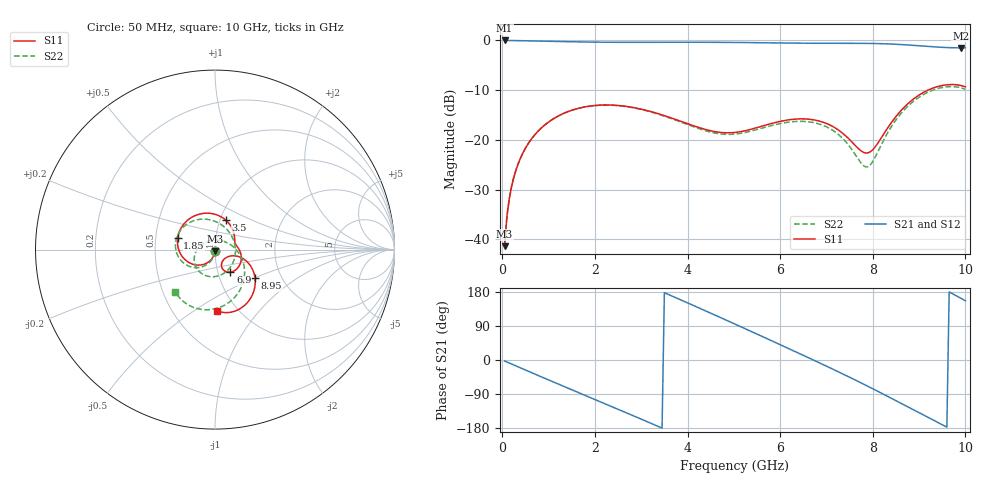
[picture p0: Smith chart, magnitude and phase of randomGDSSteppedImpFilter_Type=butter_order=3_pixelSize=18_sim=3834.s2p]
! freq	dB(S11)	phase(S11)	dB(S12)	phase(S12)
!  dB(S21)	phase(S21)	dB(S22)	phase(S22)
!S-par simulation data
#  GHz  S  DB  R 50
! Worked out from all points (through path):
!   200 points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, 50 MHz to 10 GHz, reference 50 ohm
!   highest |S21| = 0.00 dB at 50 MHz (marker M1); lowest = -1.5 dB at 9.9 GHz (marker M2)
!   group delay of S21, straight-line fit = 155 ps
!   lowest |S11| = -41.4 dB at 50 MHz (marker M3), VSWR 1.02, Z = 49.9 - j0.852 ohm
!   |S11| at or under -10 dB: start of sweep to 9.191 GHz
!   |S22| runs from -41.4 to -9.3 dB; largest |S21 - S12| = 0
!   S11 on the Smith chart (normalised r, x): 50 MHz: 1.00, -0.02; 1.85 GHz: 0.65, +0.09; 3.5 GHz: 1.06, +0.36; 6.9 GHz: 1.15, -0.29; 8.95 GHz: 1.47, -0.50; 10 GHz: 0.81, -0.63
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0.05  -41.37 -93.0  -0.00 -2.7  -0.00 -2.7  -41.36 -92.5
0.1  -35.36 -96.0  -0.01 -5.3  -0.01 -5.3  -35.36 -95.0
0.2  -29.39 -101.9  -0.02 -10.6  -0.02 -10.6  -29.38 -100.0
0.5  -21.67 -119.4  -0.07 -26.5  -0.07 -26.5  -21.66 -114.7
1.15  -15.49 -156.9  -0.20 -60.4  -0.20 -60.4  -15.49 -145.7
1.75  -13.43 169.0  -0.31 -91.4  -0.31 -91.4  -13.43 -173.5
1.85  -13.26 163.3  -0.32 -96.5  -0.32 -96.5  -13.27 -178.1
2.7  -13.29 114.6  -0.38 -140.3  -0.38 -140.3  -13.34 142.9
3.4  -14.82 75.5  -0.36 -177.1  -0.36 -177.1  -14.91 108.9
3.5  -15.12 70.2  -0.36 177.6  -0.36 177.6  -15.22 103.7
4.2  -17.38 37.7  -0.36 140.0  -0.36 140.0  -17.59 61.6
5.05  -18.47 13.6  -0.40 93.4  -0.40 93.4  -18.80 -6.7
5.8  -16.73 -9.3  -0.48 51.7  -0.48 51.7  -17.15 -65.5
6.7  -15.93 -47.4  -0.57 1.0  -0.57 1.0  -16.48 -126.2
6.9  -16.36 -55.5  -0.58 -10.5  -0.58 -10.5  -16.98 -140.0
7.35  -18.67 -68.4  -0.58 -36.6  -0.58 -36.6  -19.70 -176.8
7.85  -22.64 -47.7  -0.59 -66.7  -0.59 -66.7  -25.44 97.1
8.35  -17.20 -16.6  -0.70 -97.8  -0.70 -97.8  -18.10 -3.4
8.95  -11.29 -35.2  -1.03 -135.9  -1.03 -135.9  -11.73 -56.2
9.4  -9.28 -57.4  -1.33 -164.4  -1.33 -164.4  -9.67 -88.8
9.9  -9.06 -83.0  -1.49 163.1  -1.49 163.1  -9.51 -125.5
10  -9.33 -87.8  -1.48 156.3  -1.48 156.3  -9.83 -133.5
